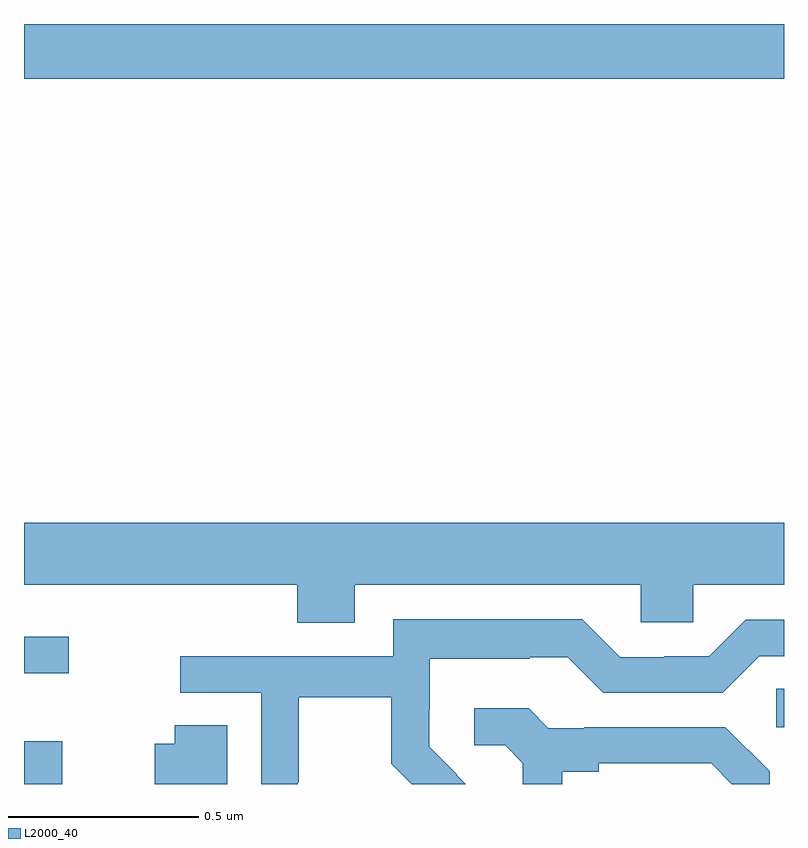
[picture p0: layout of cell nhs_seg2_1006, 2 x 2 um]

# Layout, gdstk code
import gdstk
lib = gdstk.Library(unit=1e-6, precision=1e-09)
def R(c, l, rs):  # rectangles x0, y0, x1, y1
    for r in rs: c.add(gdstk.rectangle(r[:2], r[2:], *l))
def P(c, l, *ps):  # polygons
    for p in ps: c.add(gdstk.Polygon(p, *l))
L2000_40 = (2000, 40)

nhs_seg2_1006 = lib.new_cell('nhs_seg2_1006')
R(nhs_seg2_1006, L2000_40, [(123,625.8,123.1,625.912), (124.98,625.95,125,626.051), (123,626.091,123.118,626.188), (123,627.656,125,627.8)])
P(nhs_seg2_1006, L2000_40, [(123.871,626.324),(124.623,626.324),(124.623,626.226),(124.761,626.226),(124.761,626.324),(125,626.324),(125,626.488),(123,626.488),(123,626.324),(123.719,626.324),(123.719,626.225),(123.871,626.225)],
  [(123.72,625.804),(123.723,625.804),(123.723,626.028),(123.967,626.028),(123.967,625.853),(124.02,625.8),(124.162,625.8),(124.139,625.823),(124.14,625.824),(124.066,625.898),(124.066,625.995),(124.068,625.995),(124.068,626.129),(124.331,626.129),(124.331,626.133),(124.431,626.133),(124.524,626.04),(124.839,626.04),(124.935,626.136),(125,626.136),(125,626.232),(124.899,626.232),(124.803,626.136),(124.685,626.136),(124.685,626.133),(124.569,626.133),(124.469,626.233),(123.972,626.233),(123.972,626.136),(123.411,626.136),(123.411,626.04),(123.624,626.04),(123.624,625.8),(123.72,625.8)],
  [(124.417,625.832),(124.513,625.832),(124.513,625.854),(124.808,625.854),(124.862,625.8),(124.962,625.8),(124.962,625.834),(124.846,625.95),(124.474,625.95),(124.474,625.947),(124.38,625.947),(124.328,625.999),(124.185,625.999),(124.185,625.902),(124.266,625.902),(124.313,625.855),(124.313,625.8),(124.417,625.8)],
  [(123.535,625.955),(123.397,625.955),(123.397,625.906),(123.344,625.906),(123.344,625.8),(123.535,625.8)])

lib.write_gds('nhs_seg2_1006.gds')
